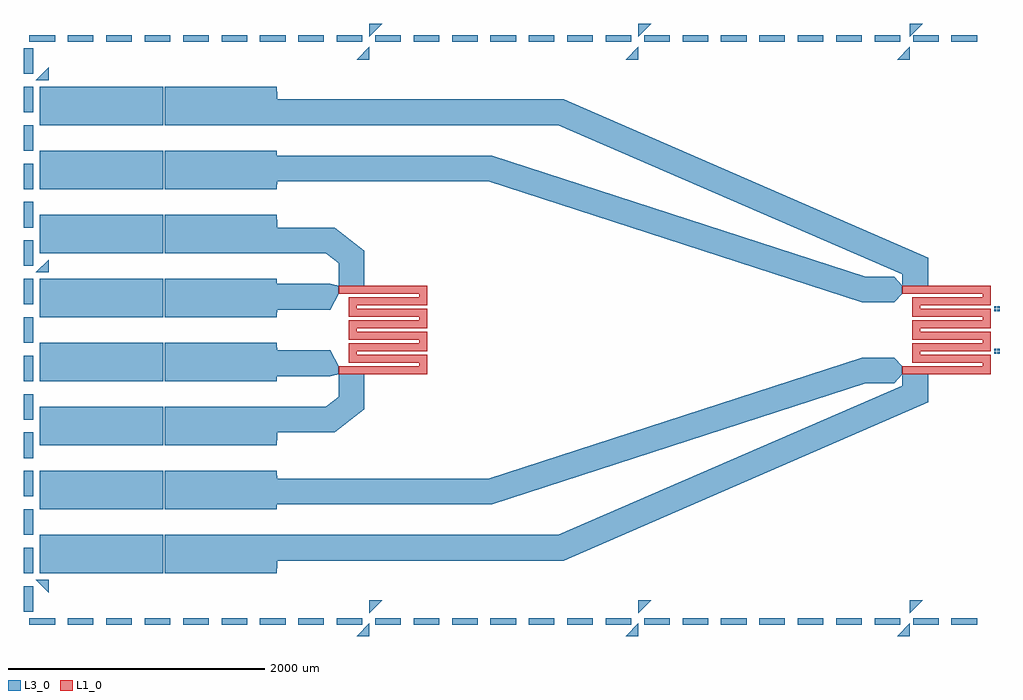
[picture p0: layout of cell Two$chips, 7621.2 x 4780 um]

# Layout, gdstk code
import gdstk
lib = gdstk.Library(unit=1e-6, precision=1e-09)
def R(c, l, rs):  # rectangles x0, y0, x1, y1
    for r in rs: c.add(gdstk.rectangle(r[:2], r[2:], *l))
def A(c, l, x, y, w, h, nx, ny, dx, dy):  # array of equal rectangles
    R(c, l, [(x+i*dx, y+j*dy, x+i*dx+w, y+j*dy+h) for i in range(nx) for j in range(ny)])
def P(c, l, *ps):  # polygons
    for p in ps: c.add(gdstk.Polygon(p, *l))
L1_0 = (1, 0)
L3_0 = (3, 0)

electrodes_1000_ppm = lib.new_cell('Electrodes$1000$ppm')
A(electrodes_1000_ppm, L3_0, -8200, -2300, 200, 50, 25, 2, 300, 4550)
A(electrodes_1000_ppm, L3_0, -8246.2, -2200, 76.2, 200, 1, 15, 0, 300)
A(electrodes_1000_ppm, L3_0, -8120, -900, 965, 300, 1, 3, 0, 500)
R(electrodes_1000_ppm, L3_0, [(-665,-185,-648.5,-168.5), (-641.5,-185,-625,-168.5), (-665,-161.5,-648.5,-145), (-641.5,-161.5,-625,-145), (-665,145,-648.5,161.5), (-641.5,145,-625,161.5), (-665,168.5,-648.5,185), (-641.5,168.5,-625,185), (-6260.005,744.97,-6260.003,755.052), (-8120,1100,-7155,1400), (-8120,1600,-7155,1900)])
P(electrodes_1000_ppm, L3_0, [(-6260.007,1744.97),(-6260.005,1755.052),(-6260.003,1755.052),(-6260.003,1744.97)],
  [(-6260.008,1244.97),(-6260.006,1255.052),(-6260.003,1255.052),(-6260.003,1244.97)],
  [(-6260.003,244.97),(-6260.011,244.971),(-6260.005,255.052),(-6260.003,255.052)],
  [(-6260.29,-255.122),(-6260.004,-244.948),(-6260.003,-244.948),(-6260.003,-255.03)],
  [(-6260.081,-755.037),(-6260.005,-744.948),(-6260.003,-744.948),(-6260.003,-755.03)],
  [(-6260.012,-1255.03),(-6260.005,-1244.948),(-6260.003,-1244.948),(-6260.003,-1255.03)],
  [(-6260.021,-1755.031),(-6260.005,-1744.948),(-6260.003,-1744.948),(-6260.003,-1755.03)],
  [(-8120,600),(-8120,900),(-7165,900),(-7155,900.02),(-7155,600)],
  [(-8120,-1400),(-8120,-1100),(-7165,-1100),(-7155,-1099.998),(-7155,-1400)],
  [(-8120,-1900),(-8120,-1600),(-7165,-1600),(-7155,-1600.003),(-7155,-1900)],
  [(-7145,-1900),(-7145,-1600),(-6270,-1600),(-6260,-1745),(-6260,-1755),(-6270,-1900)],
  [(-7145,-1400),(-7145,-1100),(-6270,-1100),(-6260,-1245),(-6260,-1255),(-6270,-1400)],
  [(-7145,-900),(-7145,-600),(-6270,-600),(-6260,-745),(-6260,-755),(-6270,-900)],
  [(-7145,1100),(-7145,1400),(-6270,1400),(-6260,1255),(-6260,1245),(-6270,1100)],
  [(-7145,-400),(-7145,-100),(-6270,-100),(-6260,-245),(-6260,-255),(-6270,-400)],
  [(-7145,100),(-7145,400),(-6270,400),(-6260,255),(-6260,245),(-6270,100)],
  [(-7145,600),(-7145,900),(-6270,900),(-6260,755),(-6260,745),(-6270,600)],
  [(-7145,1600),(-7145,1900),(-6270,1900),(-6260,1755),(-6260,1745),(-6270,1600)],
  [(-1325,-2210),(-1325,-2110),(-1225,-2110)],
  [(-1425,-2390),(-1325,-2290),(-1325,-2390)],
  [(-3445,-2210),(-3445,-2110),(-3345,-2110)],
  [(-3545,-2390),(-3445,-2290),(-3445,-2390)],
  [(-5545,-2210),(-5545,-2110),(-5445,-2110)],
  [(-5645,-2390),(-5545,-2290),(-5545,-2390)],
  [(-1425,-2390),(-1325,-2290),(-1325,-2390)],
  [(-1325,-2210),(-1325,-2110),(-1225,-2110)],
  [(-1325,2290),(-1325,2390),(-1225,2390)],
  [(-1425,2110),(-1325,2210),(-1325,2110)],
  [(-3445,2290),(-3445,2390),(-3345,2390)],
  [(-3545,2110),(-3445,2210),(-3445,2110)],
  [(-5545,2290),(-5545,2390),(-5445,2390)],
  [(-5645,2110),(-5545,2210),(-5545,2110)],
  [(-8050,-2050),(-8150,-1950),(-8050,-1950)],
  [(-8150,450),(-8050,550),(-8050,450)],
  [(-8150,1950),(-8050,2050),(-8050,1950)])

pt100_rtd = lib.new_cell('PT100_RTD')
P(pt100_rtd, L1_0, [(365,405),(365,465),(995,465),(995,495),(445,495),(445,645),(995,645),(995,675),(445,675),(445,825),(995,825),(995,855),(445,855),(445,1005),(995,1005),(995,1035),(365,1035),(365,1095),(1055,1095),(1055,945),(505,945),(505,915),(1055,915),(1055,765),(505,765),(505,735),(1055,735),(1055,585),(505,585),(505,555),(1055,555),(1055,405)])

two_chips = lib.new_cell('Two$chips')
R(two_chips, L3_0, [(-6500,-360,-5850,-160), (-6500,160,-5850,360)])
P(two_chips, L3_0, [(-5785,340),(-5785,521.479),(-5884.661,600),(-6500,600),(-6500,800),(-5815.339,800),(-5585,618.521),(-5585,340)],
  [(-6500,-800),(-6500,-600),(-5884.661,-600),(-5785,-521.479),(-5785,-340),(-5585,-340),(-5585,-618.521),(-5815.339,-800)],
  [(-1700.804,215),(-4615.804,1160),(-6500,1160),(-6500,1360),(-4584.196,1360),(-1669.196,415),(-1445,415),(-1445,215)],
  [(-6500,-1360),(-6500,-1160),(-4615.804,-1160),(-1700.804,-215),(-1445,-215),(-1445,-415),(-1669.196,-415),(-4584.196,-1360)],
  [(-1383,340),(-1383,434.369),(-4070.75,1600),(-6500,1600),(-6500,1800),(-4029.25,1800),(-1183,565.631),(-1183,340)],
  [(-6500,-1800),(-6500,-1600),(-4070.75,-1600),(-1383,-434.369),(-1383,-340),(-1183,-340),(-1183,-565.631),(-4029.25,-1800)],
  [(-5850,160),(-5850,360),(-5784,345),(-5784,285)],
  [(-5850,-360),(-5850,-160),(-5784,-285),(-5784,-345)],
  [(-1445,215),(-1445,415),(-1384,345),(-1384,285)],
  [(-1445,-415),(-1445,-215),(-1384,-285),(-1384,-345)])
two_chips.add(gdstk.Reference(electrodes_1000_ppm, (0,0)))
two_chips.add(gdstk.Reference(pt100_rtd, (-6150,-750)))
two_chips.add(gdstk.Reference(pt100_rtd, (-1750,-750)))

lib.write_gds('Two_chips.gds')
